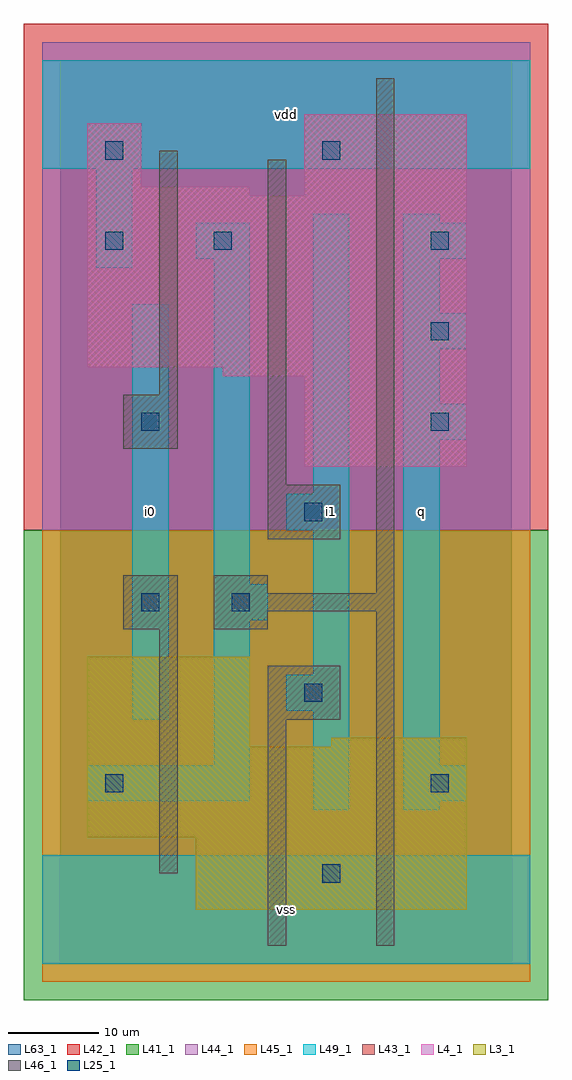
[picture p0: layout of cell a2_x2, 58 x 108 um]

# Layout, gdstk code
import gdstk
lib = gdstk.Library(unit=1e-6, precision=1e-09)
def R(c, l, rs):  # rectangles x0, y0, x1, y1
    for r in rs: c.add(gdstk.rectangle(r[:2], r[2:], *l))
def A(c, l, x, y, w, h, nx, ny, dx, dy):  # array of equal rectangles
    R(c, l, [(x+i*dx, y+j*dy, x+i*dx+w, y+j*dy+h) for i in range(nx) for j in range(ny)])
L3_1 = (3, 1)
L4_1 = (4, 1)
L25_1 = (25, 1)
L41_1 = (41, 1)
L42_1 = (42, 1)
L43_1 = (43, 1)
L44_1 = (44, 1)
L45_1 = (45, 1)
L46_1 = (46, 1)
L49_1 = (49, 1)
L63_1 = (63, 1)

a2_x2 = lib.new_cell('a2_x2')
R(a2_x2, L3_1, [(15,6,45,14), (3,14,45,24), (3,24,21,34), (30,24,45,25)])
R(a2_x2, L4_1, [(27,55,45,65), (18,65,45,66), (3,66,45,85), (3,85,21,86), (27,85,45,94), (3,86,9,93)])
A(a2_x2, L25_1, 41, 59, 2, 2, 1, 3, 0, 10)
R(a2_x2, L25_1, [(29,9,31,11), (5,19,7,21), (41,19,43,21), (27,29,29,31), (9,39,11,41), (19,39,21,41), (27,49,29,51), (9,59,11,61), (5,79,7,81), (17,79,19,81), (5,89,7,91), (29,89,31,91)])
R(a2_x2, L41_1, [(-4,-4,54,48)])
R(a2_x2, L42_1, [(-4,48,54,104)])
R(a2_x2, L43_1, [(15,6,45,14), (3,14,45,24), (3,24,21,34), (30,24,45,25), (27,55,45,65), (18,65,45,66), (3,66,45,85), (3,85,21,86), (27,85,45,94), (3,86,9,93)])
R(a2_x2, L44_1, [(-2,48,52,102)])
R(a2_x2, L45_1, [(-2,-2,52,48)])
R(a2_x2, L46_1, [(23,2,25,27), (35,2,37,39), (11,10,13,37), (23,27,31,33), (7,37,13,43), (17,37,23,39), (17,39,37,41), (17,41,23,43), (35,41,37,98), (23,47,31,53), (23,53,25,89), (7,57,13,63), (11,63,13,90)])
A(a2_x2, L49_1, 38, 58, 7, 4, 1, 3, 0, 10)
R(a2_x2, L49_1, [(-2,0,52,12), (28,17,32,28), (38,17,42,18), (3,18,21,22), (38,18,45,22), (17,22,21,38), (38,22,42,58), (8,27,12,73), (25,28,32,32), (28,32,32,48), (17,38,23,42), (17,42,21,78), (25,48,32,52), (28,52,32,83), (38,62,42,68), (38,72,42,78), (4,77,8,88), (15,78,21,82), (38,82,42,83), (-2,88,52,100)])
R(a2_x2, L63_1, [(0,0,50,100)])
a2_x2.add(gdstk.Label('i0', (10,50), layer=49, texttype=1))
a2_x2.add(gdstk.Label('vss', (25,6), layer=49, texttype=1))
a2_x2.add(gdstk.Label('i1', (30,50), layer=49, texttype=1))
a2_x2.add(gdstk.Label('vdd', (25,94), layer=49, texttype=1))
a2_x2.add(gdstk.Label('q', (40,50), layer=49, texttype=1))

lib.write_gds('a2_x2.gds')
